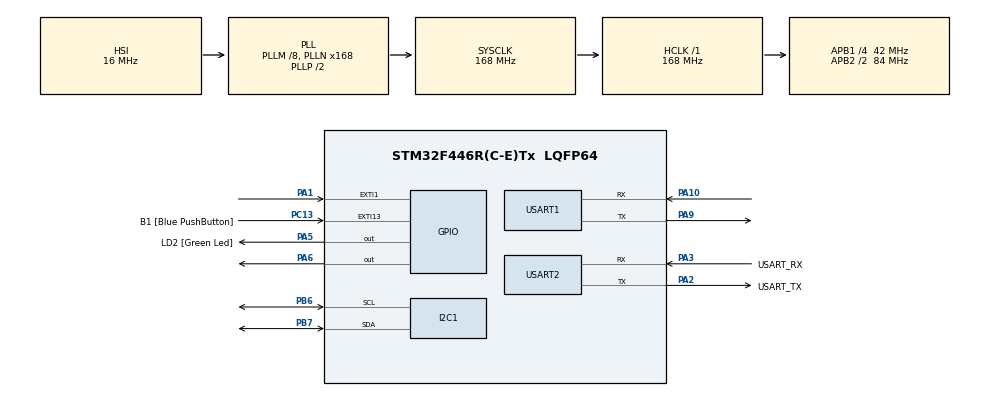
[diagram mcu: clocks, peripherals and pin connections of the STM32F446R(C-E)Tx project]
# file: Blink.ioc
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Mcu.Family=STM32F4
Mcu.Name=STM32F446R(C-E)Tx
Mcu.Package=LQFP64
NVIC.EXTI15_10_IRQn=true\:0\:0\:false\:false\:true\:true\:true\:true
NVIC.EXTI1_IRQn=true\:0\:0\:false\:false\:true\:true\:true\:true
NVIC.PriorityGroup=NVIC_PRIORITYGROUP_0
NVIC.USART2_IRQn=true\:0\:0\:false\:false\:true\:true\:true\:true
PA1.Signal=GPXTI1
PA10.Mode=Asynchronous
PA10.Signal=USART1_RX
PA13.GPIO_Label=TMS
PA13.Mode=Serial_Wire
PA13.Signal=SYS_JTMS-SWDIO
PA14.GPIO_Label=TCK
PA14.Mode=Serial_Wire
PA14.Signal=SYS_JTCK-SWCLK
PA2.GPIO_Label=USART_TX
PA2.Mode=Asynchronous
PA2.Signal=USART2_TX
PA3.GPIO_Label=USART_RX
PA3.Mode=Asynchronous
PA3.Signal=USART2_RX
PA5.GPIO_Label=LD2 [Green Led]
PA5.Signal=GPIO_Output
PA6.Signal=GPIO_Output
PA9.Mode=Asynchronous
PA9.Signal=USART1_TX
PB3.GPIO_Label=SWO
PB3.Signal=SYS_JTDO-SWO
PB6.Mode=I2C
PB6.Signal=I2C1_SCL
PB7.Mode=I2C
PB7.Signal=I2C1_SDA
PC13.GPIO_Label=B1 [Blue PushButton]
PC13.GPIO_ModeDefaultEXTI=GPIO_MODE_IT_FALLING
PC13.Signal=GPXTI13
PC14-OSC32_IN.Mode=LSE-External-Oscillator
PC14-OSC32_IN.Signal=RCC_OSC32_IN
PC15-OSC32_OUT.Mode=LSE-External-Oscillator
PC15-OSC32_OUT.Signal=RCC_OSC32_OUT
PH0-OSC_IN.Mode=HSE-External-Oscillator
PH0-OSC_IN.Signal=RCC_OSC_IN
PH1-OSC_OUT.Mode=HSE-External-Oscillator
PH1-OSC_OUT.Signal=RCC_OSC_OUT
ProjectManager.HeapSize=0x200
ProjectManager.StackSize=0x400
ProjectManager.TargetToolchain=STM32CubeIDE
RCC.48MHZClocksFreq_Value=84000000
RCC.AHBFreq_Value=168000000
RCC.APB1CLKDivider=RCC_HCLK_DIV4
RCC.APB1Freq_Value=42000000
RCC.APB1TimFreq_Value=84000000
RCC.APB2CLKDivider=RCC_HCLK_DIV2
RCC.APB2Freq_Value=84000000
RCC.APB2TimFreq_Value=168000000
RCC.CortexFreq_Value=168000000
RCC.FLatency-AdvancedSettings=FLASH_LATENCY_5
RCC.HCLKFreq_Value=168000000
RCC.HSE_VALUE=8000000
RCC.HSI_VALUE=16000000
RCC.PLLM=8
RCC.PLLN=168
RCC.SYSCLKFreq_VALUE=168000000
RCC.SYSCLKSource=RCC_SYSCLKSOURCE_PLLCLK
RCC.USBFreq_Value=168000000
RCC.VCOOutputFreq_Value=336000000
USART1.Parity=PARITY_NONE
USART1.StopBits=STOPBITS_1
USART1.VirtualMode=VM_ASYNC
USART1.WordLength=WORDLENGTH_8B
USART2.VirtualMode=VM_ASYNC
board=NUCLEO-F446RE

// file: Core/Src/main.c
/* USER CODE BEGIN Header */
/**
  ******************************************************************************
  * @file           : main.c
  * @brief          : Main program body
  ******************************************************************************
  * @attention
  *
  * Copyright (c) 2026 STMicroelectronics.
  * All rights reserved.
  *
  * This software is licensed under terms that can be found in the LICENSE file
  * in the root directory of this software component.
  * If no LICENSE file comes with this software, it is provided AS-IS.
  *
  ******************************************************************************
  */
/* USER CODE END Header */
#include "main.h"

/* USER CODE BEGIN Includes */
#include <string.h>

/* USER CODE END Includes */

/* USER CODE BEGIN PD */
#define I2C_PAGE_SIZE 64

/* USER CODE END PD */

I2C_HandleTypeDef hi2c1;

UART_HandleTypeDef huart1;
UART_HandleTypeDef huart2;

void SystemClock_Config(void);
static void MX_GPIO_Init(void);
static void MX_USART2_UART_Init(void);
static void MX_USART1_UART_Init(void);
static void MX_I2C1_Init(void);

int main(void)
{

  /* MCU Configuration--------------------------------------------------------*/

  /* Reset of all peripherals, Initializes the Flash interface and the Systick. */
  HAL_Init();

  /* Configure the system clock */
  SystemClock_Config();

  /* Initialize all configured peripherals */
  MX_GPIO_Init();
  MX_USART2_UART_Init();
  MX_USART1_UART_Init();
  MX_I2C1_Init();
  /* USER CODE BEGIN 2 */

  static uint8_t data[200] = {0};
  static uint8_t read_data[200] = {0};
  static const uint8_t full_pages = sizeof(data) / I2C_PAGE_SIZE;
  static const uint8_t leftover = sizeof(data) % I2C_PAGE_SIZE;

  for (int i = 0; i < sizeof(data); ++i) {
	  data[i] = i;
	}

  /* USER CODE END 2 */

  /* Infinite loop */
  /* USER CODE BEGIN WHILE */
  while (1)
  {
	  for (int i = 0; i < full_pages; ++i) {
		  HAL_I2C_Mem_Write(&hi2c1, 0x50 << 1, 0x0200 + i * I2C_PAGE_SIZE, I2C_MEMADD_SIZE_16BIT, &data[i * I2C_PAGE_SIZE], I2C_PAGE_SIZE, 1000);
		  HAL_Delay(5);
	  }
	  HAL_I2C_Mem_Write(&hi2c1, 0x50 << 1, 0x0200 + full_pages * I2C_PAGE_SIZE, I2C_MEMADD_SIZE_16BIT, &data[full_pages * I2C_PAGE_SIZE], leftover, 1000);

	  HAL_Delay(10);

	  if (HAL_I2C_Mem_Read(&hi2c1, 0x50 << 1, 0x0200, I2C_MEMADD_SIZE_16BIT, read_data, sizeof(data), 1000) != HAL_OK) {
		  volatile uint32_t error_code = HAL_I2C_GetError(&hi2c1);
	  }

	  HAL_Delay(100);

    /* USER CODE END WHILE */

  }
}

void SystemClock_Config(void)
{
  RCC_OscInitTypeDef RCC_OscInitStruct = {0};
  RCC_ClkInitTypeDef RCC_ClkInitStruct = {0};

  /** Configure the main internal regulator output voltage
  */
  __HAL_RCC_PWR_CLK_ENABLE();
  __HAL_PWR_VOLTAGESCALING_CONFIG(PWR_REGULATOR_VOLTAGE_SCALE1);

  /** Initializes the RCC Oscillators according to the specified parameters
  * in the RCC_OscInitTypeDef structure.
  */
  RCC_OscInitStruct.OscillatorType = RCC_OSCILLATORTYPE_HSI;
  RCC_OscInitStruct.HSIState = RCC_HSI_ON;
  RCC_OscInitStruct.HSICalibrationValue = RCC_HSICALIBRATION_DEFAULT;
  RCC_OscInitStruct.PLL.PLLState = RCC_PLL_ON;
  RCC_OscInitStruct.PLL.PLLSource = RCC_PLLSOURCE_HSI;
  RCC_OscInitStruct.PLL.PLLM = 8;
  RCC_OscInitStruct.PLL.PLLN = 168;
  RCC_OscInitStruct.PLL.PLLP = RCC_PLLP_DIV2;
  RCC_OscInitStruct.PLL.PLLQ = 2;
  RCC_OscInitStruct.PLL.PLLR = 2;
  if (HAL_RCC_OscConfig(&RCC_OscInitStruct) != HAL_OK)
  {
    Error_Handler();
  }

  /** Initializes the CPU, AHB and APB buses clocks
  */
  RCC_ClkInitStruct.ClockType = RCC_CLOCKTYPE_HCLK|RCC_CLOCKTYPE_SYSCLK
                              |RCC_CLOCKTYPE_PCLK1|RCC_CLOCKTYPE_PCLK2;
  RCC_ClkInitStruct.SYSCLKSource = RCC_SYSCLKSOURCE_PLLCLK;
  RCC_ClkInitStruct.AHBCLKDivider = RCC_SYSCLK_DIV1;
  RCC_ClkInitStruct.APB1CLKDivider = RCC_HCLK_DIV4;
  RCC_ClkInitStruct.APB2CLKDivider = RCC_HCLK_DIV2;

  if (HAL_RCC_ClockConfig(&RCC_ClkInitStruct, FLASH_LATENCY_5) != HAL_OK)
  {
    Error_Handler();
  }
}

static void MX_I2C1_Init(void)
{

  hi2c1.Instance = I2C1;
  hi2c1.Init.ClockSpeed = 100000;
  hi2c1.Init.DutyCycle = I2C_DUTYCYCLE_2;
  hi2c1.Init.OwnAddress1 = 0;
  hi2c1.Init.AddressingMode = I2C_ADDRESSINGMODE_7BIT;
  hi2c1.Init.DualAddressMode = I2C_DUALADDRESS_DISABLE;
  hi2c1.Init.OwnAddress2 = 0;
  hi2c1.Init.GeneralCallMode = I2C_GENERALCALL_DISABLE;
  hi2c1.Init.NoStretchMode = I2C_NOSTRETCH_DISABLE;
  if (HAL_I2C_Init(&hi2c1) != HAL_OK)
  {
    Error_Handler();
  }

}

static void MX_USART1_UART_Init(void)
{

  huart1.Instance = USART1;
  huart1.Init.BaudRate = 115200;
  huart1.Init.WordLength = UART_WORDLENGTH_8B;
  huart1.Init.StopBits = UART_STOPBITS_1;
  huart1.Init.Parity = UART_PARITY_NONE;
  huart1.Init.Mode = UART_MODE_TX_RX;
  huart1.Init.HwFlowCtl = UART_HWCONTROL_NONE;
  huart1.Init.OverSampling = UART_OVERSAMPLING_16;
  if (HAL_UART_Init(&huart1) != HAL_OK)
  {
    Error_Handler();
  }

}

static void MX_USART2_UART_Init(void)
{

  huart2.Instance = USART2;
  huart2.Init.BaudRate = 115200;
  huart2.Init.WordLength = UART_WORDLENGTH_8B;
  huart2.Init.StopBits = UART_STOPBITS_1;
  huart2.Init.Parity = UART_PARITY_NONE;
  huart2.Init.Mode = UART_MODE_TX_RX;
  huart2.Init.HwFlowCtl = UART_HWCONTROL_NONE;
  huart2.Init.OverSampling = UART_OVERSAMPLING_16;
  if (HAL_UART_Init(&huart2) != HAL_OK)
  {
    Error_Handler();
  }

}

static void MX_GPIO_Init(void)
{
  GPIO_InitTypeDef GPIO_InitStruct = {0};

  /* GPIO Ports Clock Enable */
  __HAL_RCC_GPIOC_CLK_ENABLE();
  __HAL_RCC_GPIOH_CLK_ENABLE();
  __HAL_RCC_GPIOA_CLK_ENABLE();
  __HAL_RCC_GPIOB_CLK_ENABLE();

  /*Configure GPIO pin Output Level */
  HAL_GPIO_WritePin(GPIOA, LD2_Pin|GPIO_PIN_6, GPIO_PIN_RESET);

  /*Configure GPIO pin : B1_Pin */
  GPIO_InitStruct.Pin = B1_Pin;
  GPIO_InitStruct.Mode = GPIO_MODE_IT_FALLING;
  GPIO_InitStruct.Pull = GPIO_NOPULL;
  HAL_GPIO_Init(B1_GPIO_Port, &GPIO_InitStruct);

  /*Configure GPIO pin : PA1 */
  GPIO_InitStruct.Pin = GPIO_PIN_1;
  GPIO_InitStruct.Mode = GPIO_MODE_IT_RISING;
  GPIO_InitStruct.Pull = GPIO_NOPULL;
  HAL_GPIO_Init(GPIOA, &GPIO_InitStruct);

  /*Configure GPIO pins : LD2_Pin PA6 */
  GPIO_InitStruct.Pin = LD2_Pin|GPIO_PIN_6;
  GPIO_InitStruct.Mode = GPIO_MODE_OUTPUT_PP;
  GPIO_InitStruct.Pull = GPIO_NOPULL;
  GPIO_InitStruct.Speed = GPIO_SPEED_FREQ_LOW;
  HAL_GPIO_Init(GPIOA, &GPIO_InitStruct);

  /* EXTI interrupt init*/
  HAL_NVIC_SetPriority(EXTI1_IRQn, 0, 0);
  HAL_NVIC_EnableIRQ(EXTI1_IRQn);

  HAL_NVIC_SetPriority(EXTI15_10_IRQn, 0, 0);
  HAL_NVIC_EnableIRQ(EXTI15_10_IRQn);

}

void Error_Handler(void)
{
  __disable_irq();
  while (1)
  {
  }
}
